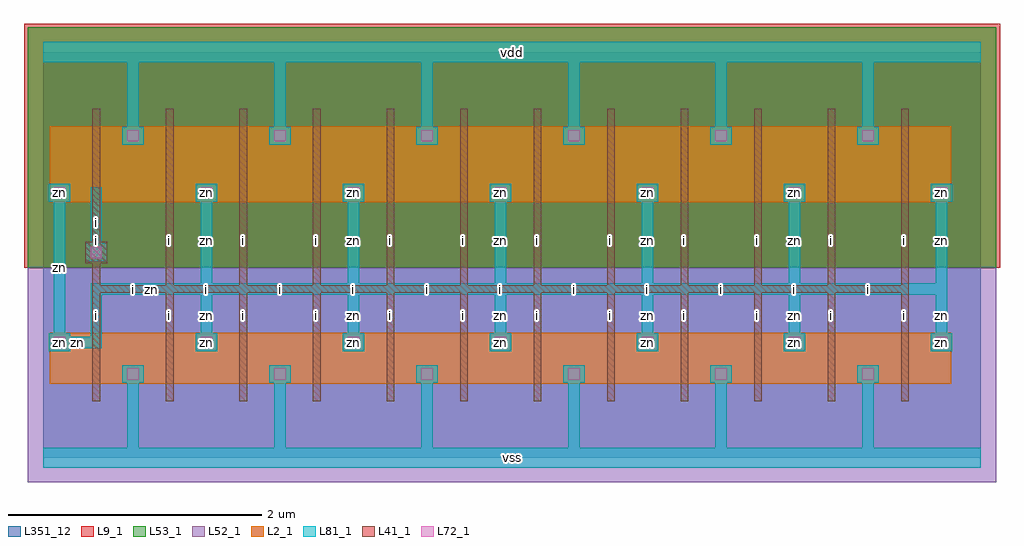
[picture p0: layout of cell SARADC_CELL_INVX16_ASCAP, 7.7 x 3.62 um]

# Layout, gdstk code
import gdstk
lib = gdstk.Library(unit=1e-6, precision=1e-09)
def R(c, l, rs):  # rectangles x0, y0, x1, y1
    for r in rs: c.add(gdstk.rectangle(r[:2], r[2:], *l))
def A(c, l, x, y, w, h, nx, ny, dx, dy):  # array of equal rectangles
    R(c, l, [(x+i*dx, y+j*dy, x+i*dx+w, y+j*dy+h) for i in range(nx) for j in range(ny)])
def P(c, l, *ps):  # polygons
    for p in ps: c.add(gdstk.Polygon(p, *l))
L0_0 = (0, 0)
L2_1 = (2, 1)
L9_1 = (9, 1)
L41_1 = (41, 1)
L52_1 = (52, 1)
L53_1 = (53, 1)
L72_1 = (72, 1)
L81_1 = (81, 1)
L351_12 = (351, 12)

saradc_cell_invx16_ascap = lib.new_cell('SARADC_CELL_INVX16_ASCAP')
A(saradc_cell_invx16_ascap, L2_1, 0.055, 0.585, 0.73, 0.4, 12, 1, 0.58, 0)
A(saradc_cell_invx16_ascap, L2_1, 0.635, 0.585, 0.15, 0.15, 6, 2, 1.16, 1.88)
A(saradc_cell_invx16_ascap, L2_1, 0.055, 0.835, 0.15, 0.15, 7, 2, 1.16, 1.18)
A(saradc_cell_invx16_ascap, L2_1, 0.055, 2.015, 0.73, 0.6, 12, 1, 0.58, 0)
R(saradc_cell_invx16_ascap, L9_1, [(-0.15,1.5,7.55,3.425)])
A(saradc_cell_invx16_ascap, L41_1, 0.39, 0.445, 0.06, 0.68, 12, 1, 0.58, 0)
A(saradc_cell_invx16_ascap, L41_1, 0.39, 0.88, 0.06, 0.48, 12, 1, 0.58, 0)
A(saradc_cell_invx16_ascap, L41_1, 0.39, 1.3, 0.64, 0.06, 11, 1, 0.58, 0)
A(saradc_cell_invx16_ascap, L41_1, 0.39, 1.3, 0.06, 0.82, 12, 1, 0.58, 0)
A(saradc_cell_invx16_ascap, L41_1, 0.39, 1.875, 0.06, 0.88, 12, 1, 0.58, 0)
R(saradc_cell_invx16_ascap, L41_1, [(0.335,1.535,0.505,1.705)])
R(saradc_cell_invx16_ascap, L52_1, [(-0.12,-0.195,7.52,1.5)])
R(saradc_cell_invx16_ascap, L53_1, [(-0.12,1.5,7.52,3.395)])
A(saradc_cell_invx16_ascap, L72_1, 0.665, 0.615, 0.09, 0.09, 6, 2, 1.16, 1.88)
A(saradc_cell_invx16_ascap, L72_1, 0.085, 0.865, 0.09, 0.09, 7, 2, 1.16, 1.18)
R(saradc_cell_invx16_ascap, L72_1, [(0.375,1.575,0.465,1.665)])
P(saradc_cell_invx16_ascap, L81_1, [(0,-0.08),(0,0.08),(0.665,0.08),(0.665,0.59),(0.625,0.59),(0.625,0.73),(0.795,0.73),(0.795,0.59),(0.755,0.59),(0.755,0.08),(1.825,0.08),(1.825,0.59),(1.785,0.59),(1.785,0.73),(1.955,0.73),(1.955,0.59),(1.915,0.59),(1.915,0.08),(2.985,0.08),(2.985,0.59),(2.945,0.59),(2.945,0.73),(3.115,0.73),(3.115,0.59),(3.075,0.59),(3.075,0.08),(4.145,0.08),(4.145,0.59),(4.105,0.59),(4.105,0.73),(4.275,0.73),(4.275,0.59),(4.235,0.59),(4.235,0.08),(5.305,0.08),(5.305,0.59),(5.265,0.59),(5.265,0.73),(5.435,0.73),(5.435,0.59),(5.395,0.59),(5.395,0.08),(6.465,0.08),(6.465,0.59),(6.425,0.59),(6.425,0.73),(6.595,0.73),(6.595,0.59),(6.555,0.59),(6.555,0.08),(7.4,0.08),(7.4,-0.08)],
  [(0.335,1.55),(0.335,1.69),(0.375,1.69),(0.375,2.135),(0.465,2.135),(0.465,1.69),(0.505,1.69),(0.505,1.55)],
  [(0.045,0.84),(0.045,0.98),(0.085,0.98),(0.085,2.02),(0.045,2.02),(0.045,2.16),(0.215,2.16),(0.215,2.02),(0.175,2.02),(0.175,0.98),(0.215,0.98),(0.215,0.955),(0.375,0.955),(0.375,1.375),(1.245,1.375),(1.245,2.02),(1.205,2.02),(1.205,2.16),(1.375,2.16),(1.375,2.02),(1.335,2.02),(1.335,1.375),(2.405,1.375),(2.405,2.02),(2.365,2.02),(2.365,2.16),(2.535,2.16),(2.535,2.02),(2.495,2.02),(2.495,1.375),(3.565,1.375),(3.565,2.02),(3.525,2.02),(3.525,2.16),(3.695,2.16),(3.695,2.02),(3.655,2.02),(3.655,1.375),(4.725,1.375),(4.725,2.02),(4.685,2.02),(4.685,2.16),(4.855,2.16),(4.855,2.02),(4.815,2.02),(4.815,1.375),(5.885,1.375),(5.885,2.02),(5.845,2.02),(5.845,2.16),(6.015,2.16),(6.015,2.02),(5.975,2.02),(5.975,1.375),(7.045,1.375),(7.045,2.02),(7.005,2.02),(7.005,2.16),(7.175,2.16),(7.175,2.02),(7.135,2.02),(7.135,0.98),(7.175,0.98),(7.175,0.84),(7.005,0.84),(7.005,0.98),(7.045,0.98),(7.045,1.285),(5.975,1.285),(5.975,0.98),(6.015,0.98),(6.015,0.84),(5.845,0.84),(5.845,0.98),(5.885,0.98),(5.885,1.285),(4.815,1.285),(4.815,0.98),(4.855,0.98),(4.855,0.84),(4.685,0.84),(4.685,0.98),(4.725,0.98),(4.725,1.285),(3.655,1.285),(3.655,0.98),(3.695,0.98),(3.695,0.84),(3.525,0.84),(3.525,0.98),(3.565,0.98),(3.565,1.285),(2.495,1.285),(2.495,0.98),(2.535,0.98),(2.535,0.84),(2.365,0.84),(2.365,0.98),(2.405,0.98),(2.405,1.285),(1.335,1.285),(1.335,0.98),(1.375,0.98),(1.375,0.84),(1.205,0.84),(1.205,0.98),(1.245,0.98),(1.245,1.285),(0.465,1.285),(0.465,0.865),(0.215,0.865),(0.215,0.84)],
  [(0.625,2.47),(0.625,2.61),(0.665,2.61),(0.665,3.12),(0,3.12),(0,3.28),(7.4,3.28),(7.4,3.12),(6.555,3.12),(6.555,2.61),(6.595,2.61),(6.595,2.47),(6.425,2.47),(6.425,2.61),(6.465,2.61),(6.465,3.12),(5.395,3.12),(5.395,2.61),(5.435,2.61),(5.435,2.47),(5.265,2.47),(5.265,2.61),(5.305,2.61),(5.305,3.12),(4.235,3.12),(4.235,2.61),(4.275,2.61),(4.275,2.47),(4.105,2.47),(4.105,2.61),(4.145,2.61),(4.145,3.12),(3.075,3.12),(3.075,2.61),(3.115,2.61),(3.115,2.47),(2.945,2.47),(2.945,2.61),(2.985,2.61),(2.985,3.12),(1.915,3.12),(1.915,2.61),(1.955,2.61),(1.955,2.47),(1.785,2.47),(1.785,2.61),(1.825,2.61),(1.825,3.12),(0.755,3.12),(0.755,2.61),(0.795,2.61),(0.795,2.47)])
R(saradc_cell_invx16_ascap, L351_12, [(0,0,7.4,3.2)])
saradc_cell_invx16_ascap.add(gdstk.FlexPath([(0.045,0.24),(7.175,0.24)], 0, ends="flush", simple_path=True, layer=0, datatype=0))  # L0_0
saradc_cell_invx16_ascap.add(gdstk.FlexPath([(0.045,0.66),(7.175,0.66)], 0, ends="flush", simple_path=True, layer=0, datatype=0))  # L0_0
saradc_cell_invx16_ascap.add(gdstk.FlexPath([(0.045,0.91),(7.175,0.91)], 0, ends="flush", simple_path=True, layer=0, datatype=0))  # L0_0
saradc_cell_invx16_ascap.add(gdstk.FlexPath([(0.045,1.33),(7.175,1.33)], 0, ends="flush", simple_path=True, layer=0, datatype=0))  # L0_0
saradc_cell_invx16_ascap.add(gdstk.FlexPath([(0.045,1.62),(7.175,1.62)], 0, ends="flush", simple_path=True, layer=0, datatype=0))  # L0_0
saradc_cell_invx16_ascap.add(gdstk.FlexPath([(0.045,2.09),(7.175,2.09)], 0, ends="flush", simple_path=True, layer=0, datatype=0))  # L0_0
saradc_cell_invx16_ascap.add(gdstk.FlexPath([(0.045,2.54),(7.175,2.54)], 0, ends="flush", simple_path=True, layer=0, datatype=0))  # L0_0
saradc_cell_invx16_ascap.add(gdstk.FlexPath([(0.045,2.96),(7.175,2.96)], 0, ends="flush", simple_path=True, layer=0, datatype=0))  # L0_0
saradc_cell_invx16_ascap.add(gdstk.FlexPath([(0.13,0.03),(0.13,3.17)], 0, ends="flush", simple_path=True, layer=0, datatype=0))  # L0_0
saradc_cell_invx16_ascap.add(gdstk.FlexPath([(0.42,0.03),(0.42,3.17)], 0, ends="flush", simple_path=True, layer=0, datatype=0))  # L0_0
saradc_cell_invx16_ascap.add(gdstk.FlexPath([(0.71,0.03),(0.71,3.17)], 0, ends="flush", simple_path=True, layer=0, datatype=0))  # L0_0
saradc_cell_invx16_ascap.add(gdstk.FlexPath([(1,0.03),(1,3.17)], 0, ends="flush", simple_path=True, layer=0, datatype=0))  # L0_0
saradc_cell_invx16_ascap.add(gdstk.FlexPath([(1.29,0.03),(1.29,3.17)], 0, ends="flush", simple_path=True, layer=0, datatype=0))  # L0_0
saradc_cell_invx16_ascap.add(gdstk.FlexPath([(1.58,0.03),(1.58,3.17)], 0, ends="flush", simple_path=True, layer=0, datatype=0))  # L0_0
saradc_cell_invx16_ascap.add(gdstk.FlexPath([(1.87,0.03),(1.87,3.17)], 0, ends="flush", simple_path=True, layer=0, datatype=0))  # L0_0
saradc_cell_invx16_ascap.add(gdstk.FlexPath([(2.16,0.03),(2.16,3.17)], 0, ends="flush", simple_path=True, layer=0, datatype=0))  # L0_0
saradc_cell_invx16_ascap.add(gdstk.FlexPath([(2.45,0.03),(2.45,3.17)], 0, ends="flush", simple_path=True, layer=0, datatype=0))  # L0_0
saradc_cell_invx16_ascap.add(gdstk.FlexPath([(2.74,0.03),(2.74,3.17)], 0, ends="flush", simple_path=True, layer=0, datatype=0))  # L0_0
saradc_cell_invx16_ascap.add(gdstk.FlexPath([(3.03,0.03),(3.03,3.17)], 0, ends="flush", simple_path=True, layer=0, datatype=0))  # L0_0
saradc_cell_invx16_ascap.add(gdstk.FlexPath([(3.32,0.03),(3.32,3.17)], 0, ends="flush", simple_path=True, layer=0, datatype=0))  # L0_0
saradc_cell_invx16_ascap.add(gdstk.FlexPath([(3.61,0.03),(3.61,3.17)], 0, ends="flush", simple_path=True, layer=0, datatype=0))  # L0_0
saradc_cell_invx16_ascap.add(gdstk.FlexPath([(3.9,0.03),(3.9,3.17)], 0, ends="flush", simple_path=True, layer=0, datatype=0))  # L0_0
saradc_cell_invx16_ascap.add(gdstk.FlexPath([(4.19,0.03),(4.19,3.17)], 0, ends="flush", simple_path=True, layer=0, datatype=0))  # L0_0
saradc_cell_invx16_ascap.add(gdstk.FlexPath([(4.48,0.03),(4.48,3.17)], 0, ends="flush", simple_path=True, layer=0, datatype=0))  # L0_0
saradc_cell_invx16_ascap.add(gdstk.FlexPath([(4.77,0.03),(4.77,3.17)], 0, ends="flush", simple_path=True, layer=0, datatype=0))  # L0_0
saradc_cell_invx16_ascap.add(gdstk.FlexPath([(5.06,0.03),(5.06,3.17)], 0, ends="flush", simple_path=True, layer=0, datatype=0))  # L0_0
saradc_cell_invx16_ascap.add(gdstk.FlexPath([(5.35,0.03),(5.35,3.17)], 0, ends="flush", simple_path=True, layer=0, datatype=0))  # L0_0
saradc_cell_invx16_ascap.add(gdstk.FlexPath([(5.64,0.03),(5.64,3.17)], 0, ends="flush", simple_path=True, layer=0, datatype=0))  # L0_0
saradc_cell_invx16_ascap.add(gdstk.FlexPath([(5.93,0.03),(5.93,3.17)], 0, ends="flush", simple_path=True, layer=0, datatype=0))  # L0_0
saradc_cell_invx16_ascap.add(gdstk.FlexPath([(6.22,0.03),(6.22,3.17)], 0, ends="flush", simple_path=True, layer=0, datatype=0))  # L0_0
saradc_cell_invx16_ascap.add(gdstk.FlexPath([(6.51,0.03),(6.51,3.17)], 0, ends="flush", simple_path=True, layer=0, datatype=0))  # L0_0
saradc_cell_invx16_ascap.add(gdstk.FlexPath([(6.8,0.03),(6.8,3.17)], 0, ends="flush", simple_path=True, layer=0, datatype=0))  # L0_0
saradc_cell_invx16_ascap.add(gdstk.FlexPath([(7.09,0.03),(7.09,3.17)], 0, ends="flush", simple_path=True, layer=0, datatype=0))  # L0_0
saradc_cell_invx16_ascap.add(gdstk.Label('zn', (0.13,0.91), layer=2, texttype=1))
saradc_cell_invx16_ascap.add(gdstk.Label('zn', (1.29,0.91), layer=2, texttype=1))
saradc_cell_invx16_ascap.add(gdstk.Label('zn', (2.45,0.91), layer=2, texttype=1))
saradc_cell_invx16_ascap.add(gdstk.Label('zn', (3.61,0.91), layer=2, texttype=1))
saradc_cell_invx16_ascap.add(gdstk.Label('zn', (4.77,0.91), layer=2, texttype=1))
saradc_cell_invx16_ascap.add(gdstk.Label('zn', (5.93,0.91), layer=2, texttype=1))
saradc_cell_invx16_ascap.add(gdstk.Label('zn', (7.09,0.91), layer=2, texttype=1))
saradc_cell_invx16_ascap.add(gdstk.Label('zn', (0.13,2.09), layer=2, texttype=1))
saradc_cell_invx16_ascap.add(gdstk.Label('zn', (1.29,2.09), layer=2, texttype=1))
saradc_cell_invx16_ascap.add(gdstk.Label('zn', (2.45,2.09), layer=2, texttype=1))
saradc_cell_invx16_ascap.add(gdstk.Label('zn', (3.61,2.09), layer=2, texttype=1))
saradc_cell_invx16_ascap.add(gdstk.Label('zn', (4.77,2.09), layer=2, texttype=1))
saradc_cell_invx16_ascap.add(gdstk.Label('zn', (5.93,2.09), layer=2, texttype=1))
saradc_cell_invx16_ascap.add(gdstk.Label('zn', (7.09,2.09), layer=2, texttype=1))
saradc_cell_invx16_ascap.add(gdstk.Label('i', (0.42,1.12), layer=41, texttype=1))
saradc_cell_invx16_ascap.add(gdstk.Label('i', (0.71,1.33), layer=41, texttype=1))
saradc_cell_invx16_ascap.add(gdstk.Label('i', (1,1.12), layer=41, texttype=1))
saradc_cell_invx16_ascap.add(gdstk.Label('i', (1.29,1.33), layer=41, texttype=1))
saradc_cell_invx16_ascap.add(gdstk.Label('i', (1.58,1.12), layer=41, texttype=1))
saradc_cell_invx16_ascap.add(gdstk.Label('i', (1.87,1.33), layer=41, texttype=1))
saradc_cell_invx16_ascap.add(gdstk.Label('i', (2.16,1.12), layer=41, texttype=1))
saradc_cell_invx16_ascap.add(gdstk.Label('i', (2.45,1.33), layer=41, texttype=1))
saradc_cell_invx16_ascap.add(gdstk.Label('i', (2.74,1.12), layer=41, texttype=1))
saradc_cell_invx16_ascap.add(gdstk.Label('i', (3.03,1.33), layer=41, texttype=1))
saradc_cell_invx16_ascap.add(gdstk.Label('i', (3.32,1.12), layer=41, texttype=1))
saradc_cell_invx16_ascap.add(gdstk.Label('i', (3.61,1.33), layer=41, texttype=1))
saradc_cell_invx16_ascap.add(gdstk.Label('i', (3.9,1.12), layer=41, texttype=1))
saradc_cell_invx16_ascap.add(gdstk.Label('i', (4.19,1.33), layer=41, texttype=1))
saradc_cell_invx16_ascap.add(gdstk.Label('i', (4.48,1.12), layer=41, texttype=1))
saradc_cell_invx16_ascap.add(gdstk.Label('i', (4.77,1.33), layer=41, texttype=1))
saradc_cell_invx16_ascap.add(gdstk.Label('i', (5.06,1.12), layer=41, texttype=1))
saradc_cell_invx16_ascap.add(gdstk.Label('i', (5.35,1.33), layer=41, texttype=1))
saradc_cell_invx16_ascap.add(gdstk.Label('i', (5.64,1.12), layer=41, texttype=1))
saradc_cell_invx16_ascap.add(gdstk.Label('i', (5.93,1.33), layer=41, texttype=1))
saradc_cell_invx16_ascap.add(gdstk.Label('i', (6.22,1.12), layer=41, texttype=1))
saradc_cell_invx16_ascap.add(gdstk.Label('i', (6.51,1.33), layer=41, texttype=1))
saradc_cell_invx16_ascap.add(gdstk.Label('i', (6.8,1.12), layer=41, texttype=1))
saradc_cell_invx16_ascap.add(gdstk.Label('i', (0.42,1.71), layer=41, texttype=1))
saradc_cell_invx16_ascap.add(gdstk.Label('i', (1,1.71), layer=41, texttype=1))
saradc_cell_invx16_ascap.add(gdstk.Label('i', (1.58,1.71), layer=41, texttype=1))
saradc_cell_invx16_ascap.add(gdstk.Label('i', (2.16,1.71), layer=41, texttype=1))
saradc_cell_invx16_ascap.add(gdstk.Label('i', (2.74,1.71), layer=41, texttype=1))
saradc_cell_invx16_ascap.add(gdstk.Label('i', (3.32,1.71), layer=41, texttype=1))
saradc_cell_invx16_ascap.add(gdstk.Label('i', (3.9,1.71), layer=41, texttype=1))
saradc_cell_invx16_ascap.add(gdstk.Label('i', (4.48,1.71), layer=41, texttype=1))
saradc_cell_invx16_ascap.add(gdstk.Label('i', (5.06,1.71), layer=41, texttype=1))
saradc_cell_invx16_ascap.add(gdstk.Label('i', (5.64,1.71), layer=41, texttype=1))
saradc_cell_invx16_ascap.add(gdstk.Label('i', (6.22,1.71), layer=41, texttype=1))
saradc_cell_invx16_ascap.add(gdstk.Label('i', (6.8,1.71), layer=41, texttype=1))
saradc_cell_invx16_ascap.add(gdstk.Label('i', (0.42,1.62), layer=41, texttype=1))
saradc_cell_invx16_ascap.add(gdstk.Label('zn', (0.13,0.91), layer=72, texttype=1))
saradc_cell_invx16_ascap.add(gdstk.Label('zn', (1.29,0.91), layer=72, texttype=1))
saradc_cell_invx16_ascap.add(gdstk.Label('zn', (2.45,0.91), layer=72, texttype=1))
saradc_cell_invx16_ascap.add(gdstk.Label('zn', (3.61,0.91), layer=72, texttype=1))
saradc_cell_invx16_ascap.add(gdstk.Label('zn', (4.77,0.91), layer=72, texttype=1))
saradc_cell_invx16_ascap.add(gdstk.Label('zn', (5.93,0.91), layer=72, texttype=1))
saradc_cell_invx16_ascap.add(gdstk.Label('zn', (7.09,0.91), layer=72, texttype=1))
saradc_cell_invx16_ascap.add(gdstk.Label('zn', (0.13,2.09), layer=72, texttype=1))
saradc_cell_invx16_ascap.add(gdstk.Label('zn', (1.29,2.09), layer=72, texttype=1))
saradc_cell_invx16_ascap.add(gdstk.Label('zn', (2.45,2.09), layer=72, texttype=1))
saradc_cell_invx16_ascap.add(gdstk.Label('zn', (3.61,2.09), layer=72, texttype=1))
saradc_cell_invx16_ascap.add(gdstk.Label('zn', (4.77,2.09), layer=72, texttype=1))
saradc_cell_invx16_ascap.add(gdstk.Label('zn', (5.93,2.09), layer=72, texttype=1))
saradc_cell_invx16_ascap.add(gdstk.Label('zn', (7.09,2.09), layer=72, texttype=1))
saradc_cell_invx16_ascap.add(gdstk.Label('i', (0.42,1.62), layer=72, texttype=1))
saradc_cell_invx16_ascap.add(gdstk.Label('zn', (0.13,0.91), layer=81, texttype=6))
saradc_cell_invx16_ascap.add(gdstk.Label('zn', (1.29,0.91), layer=81, texttype=6))
saradc_cell_invx16_ascap.add(gdstk.Label('zn', (2.45,0.91), layer=81, texttype=6))
saradc_cell_invx16_ascap.add(gdstk.Label('zn', (3.61,0.91), layer=81, texttype=6))
saradc_cell_invx16_ascap.add(gdstk.Label('zn', (4.77,0.91), layer=81, texttype=6))
saradc_cell_invx16_ascap.add(gdstk.Label('zn', (5.93,0.91), layer=81, texttype=6))
saradc_cell_invx16_ascap.add(gdstk.Label('zn', (7.09,0.91), layer=81, texttype=6))
saradc_cell_invx16_ascap.add(gdstk.Label('zn', (0.13,2.09), layer=81, texttype=6))
saradc_cell_invx16_ascap.add(gdstk.Label('zn', (1.29,2.09), layer=81, texttype=6))
saradc_cell_invx16_ascap.add(gdstk.Label('zn', (2.45,2.09), layer=81, texttype=6))
saradc_cell_invx16_ascap.add(gdstk.Label('zn', (3.61,2.09), layer=81, texttype=6))
saradc_cell_invx16_ascap.add(gdstk.Label('zn', (4.77,2.09), layer=81, texttype=6))
saradc_cell_invx16_ascap.add(gdstk.Label('zn', (5.93,2.09), layer=81, texttype=6))
saradc_cell_invx16_ascap.add(gdstk.Label('zn', (7.09,2.09), layer=81, texttype=6))
saradc_cell_invx16_ascap.add(gdstk.Label('zn', (0.275,0.91), layer=81, texttype=6))
saradc_cell_invx16_ascap.add(gdstk.Label('zn', (0.42,1.12), layer=81, texttype=6))
saradc_cell_invx16_ascap.add(gdstk.Label('zn', (0.855,1.33), layer=81, texttype=6))
saradc_cell_invx16_ascap.add(gdstk.Label('zn', (1.29,1.12), layer=81, texttype=6))
saradc_cell_invx16_ascap.add(gdstk.Label('zn', (1.87,1.33), layer=81, texttype=6))
saradc_cell_invx16_ascap.add(gdstk.Label('zn', (2.45,1.12), layer=81, texttype=6))
saradc_cell_invx16_ascap.add(gdstk.Label('zn', (3.03,1.33), layer=81, texttype=6))
saradc_cell_invx16_ascap.add(gdstk.Label('zn', (3.61,1.12), layer=81, texttype=6))
saradc_cell_invx16_ascap.add(gdstk.Label('zn', (4.19,1.33), layer=81, texttype=6))
saradc_cell_invx16_ascap.add(gdstk.Label('zn', (4.77,1.12), layer=81, texttype=6))
saradc_cell_invx16_ascap.add(gdstk.Label('zn', (5.35,1.33), layer=81, texttype=6))
saradc_cell_invx16_ascap.add(gdstk.Label('zn', (5.93,1.12), layer=81, texttype=6))
saradc_cell_invx16_ascap.add(gdstk.Label('zn', (6.51,1.33), layer=81, texttype=6))
saradc_cell_invx16_ascap.add(gdstk.Label('zn', (7.09,1.12), layer=81, texttype=6))
saradc_cell_invx16_ascap.add(gdstk.Label('zn', (0.13,1.5), layer=81, texttype=6))
saradc_cell_invx16_ascap.add(gdstk.Label('zn', (1.29,1.71), layer=81, texttype=6))
saradc_cell_invx16_ascap.add(gdstk.Label('zn', (2.45,1.71), layer=81, texttype=6))
saradc_cell_invx16_ascap.add(gdstk.Label('zn', (3.61,1.71), layer=81, texttype=6))
saradc_cell_invx16_ascap.add(gdstk.Label('zn', (4.77,1.71), layer=81, texttype=6))
saradc_cell_invx16_ascap.add(gdstk.Label('zn', (5.93,1.71), layer=81, texttype=6))
saradc_cell_invx16_ascap.add(gdstk.Label('zn', (7.09,1.71), layer=81, texttype=6))
saradc_cell_invx16_ascap.add(gdstk.Label('i', (0.42,1.62), layer=81, texttype=6))
saradc_cell_invx16_ascap.add(gdstk.Label('i', (0.42,1.855), layer=81, texttype=6))
saradc_cell_invx16_ascap.add(gdstk.Label('vss', (3.7,0), layer=81, texttype=6))
saradc_cell_invx16_ascap.add(gdstk.Label('vdd', (3.7,3.2), layer=81, texttype=6))

lib.write_gds('SARADC_CELL_INVX16_ASCAP.gds')
